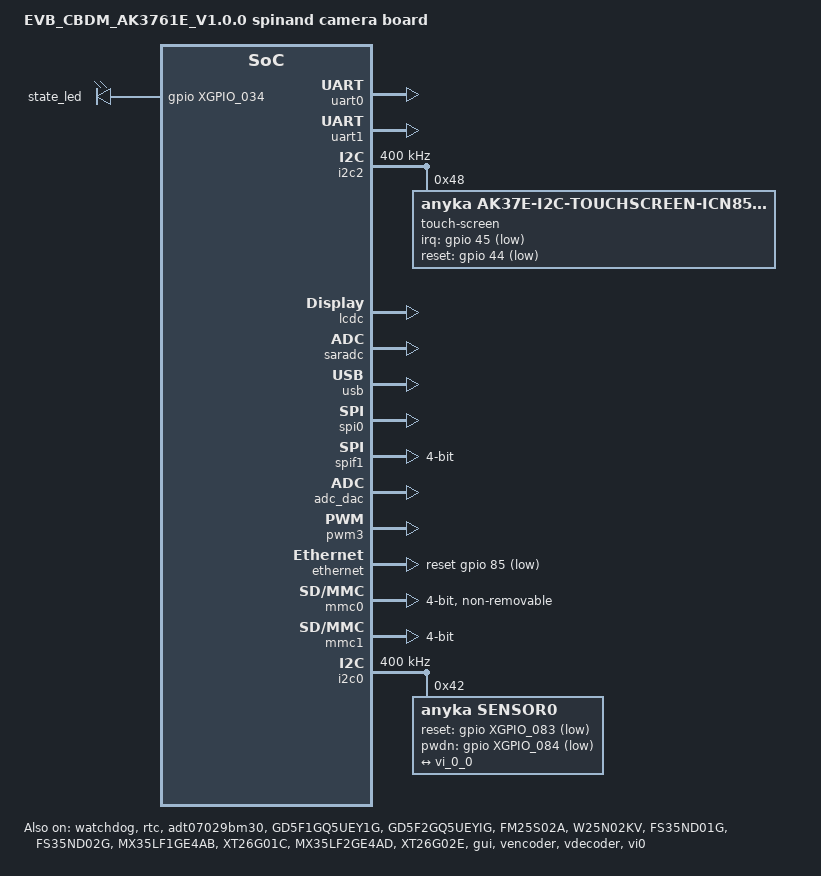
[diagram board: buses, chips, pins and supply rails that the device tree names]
/*
 * Anycloud37e dev board dts
 *
 * Copyright (C) 2020 Anyka(Guangzhou) Microelectronics Technology Co., Ltd.
 *
 * This program is free software; you can redistribute it and/or modify
 * it under the terms of the GNU General Public License as published by
 * the Free Software Foundation; either version 2 of the License, or
 * (at your option) any later version.
 *
 * This program is distributed in the hope that it will be useful,
 * but WITHOUT ANY WARRANTY; without even the implied warranty of
 * MERCHANTABILITY or FITNESS FOR A PARTICULAR PURPOSE.  See the
 * GNU General Public License for more details.
 */

/dts-v1/;
#include "anycloud_ak37e1.dtsi"
#include "anycloud_nandflash.dtsi"
#include "anycloud_lcd.dtsi"

/ {
    compatible = "anyka,ak3761e";
    model = "EVB_CBDM_AK3761E_V1.0.0 spinand camera board";
    version = "V1.0.00";
};

&gpio {
    /*
    * "anyka,function": func index, please refer to dt-bindings/pinctrl/ak_37e_pinctrl.h
    * "anyka,pull": configuration of the pins
    * bit[7:0]: pull up/down configuration
    *     bit[0]: pull up or pull down selection, 1 means select pull down, 0 means select pull up
    *     bit[4]: pull up or pull down enable, 1 means enable pull up&down function, 0 means disable fuction
    * !!! Notice that not all pin support pull up and pull down. Please refer to the programer's guide.
    * bit[15:8]: driver strength configuration.
    *     bit[9:8] drive strength.
    * bit[23:16]: input enable configuration
    *     bit[16]: 1 means enable input, 0 means disable input.
    * bit[31:24]: pin slew rate configuration
    *     bit[24]: 1 means enable slew rate, 0 means disable slew rate.
    * !!! Notice OTHER bits which not mentioned please set to 0.
    */

    /* LCD Panel backlight pin. */
    pwm3_pins: pwm3_pins {
        anyka,pins = <XGPIO_029>;
        anyka,function = <XGPIO_029_FUNC_PWM3>;
        anyka,pull = <0x1000190>;
    };

    pwm3_pins_sleep: pwm3_pins_sleep {
        anyka,pins = <XGPIO_029>;
        anyka,function = <XGPIO_029_FUNC_GPIO29>;
        anyka,pull = <0x00000000>;
    };

    pwm3_pins_idle: pwm3_pins_idle {
        anyka,pins = <XGPIO_029>;
        anyka,function = <XGPIO_029_FUNC_GPIO29>;
        anyka,pull = <0x00000000>;
    };

    /*7 inch Touch Screen  */
    icn85xx_pins: icn85xx_pins {
        anyka,pins = <XGPIO_044 XGPIO_045>;
        anyka,function = <XGPIO_044_FUNC_GPIO44 XGPIO_045_FUNC_GPIO45>;
        anyka,pull = <0x00000010 0x00010010>;
    };

    /*10 inch Touch Screen  */
    gslX680_pins: gslX680_pins {
        anyka,pins = <XGPIO_044 XGPIO_045>;
        anyka,function = <XGPIO_044_FUNC_GPIO44 XGPIO_045_FUNC_GPIO45>;
        anyka,pull = <0x00000010 0x00010010>;
    };

    i2c0_pins: i2c0_pins {
        anyka,pins = <XGPIO_030 XGPIO_031>;
        anyka,function = <XGPIO_030_FUNC_TWI0_SCL XGPIO_031_FUNC_TWI0_SDA>;
        anyka,pull = <0x1010010>;
    };

    /* i2c0_sleep_pins means: pull up or pull down disable; ie disable */
    i2c0_sleep_pins: i2c0_sleep_pins {
        anyka,pins = <XGPIO_030 XGPIO_031>;
        anyka,function = <XGPIO_030_FUNC_GPIO30 XGPIO_031_FUNC_GPIO31>;
        anyka,pull = <0x0000000>;
    };

    i2c2_pins: i2c2_pins {
        anyka,pins = <XGPIO_046 XGPIO_047>;
        anyka,function = <XGPIO_046_FUNC_TWI2_SCL XGPIO_047_FUNC_TWI2_SDA>;
        anyka,pull = <0x1010010>;
    };

    /* i2c2_sleep_pins means: pull up or pull down disable; ie disable */
    i2c2_sleep_pins: i2c2_sleep_pins {
        anyka,pins = <XGPIO_046 XGPIO_047>;
        anyka,function = <XGPIO_046_FUNC_GPIO46 XGPIO_047_FUNC_GPIO47>;
        anyka,pull = <0x00000000>;
    };

    lcd_reset_pins: lcd_reset_pins {
        anyka,pins = <XGPIO_028>;
        anyka,function = <XGPIO_028_FUNC_GPIO28>;
        anyka,pull = <0x01000310>;
    };

    lcd_power_pins: lcd_power_pins {
        anyka,pins = <XGPIO_043>;
        anyka,function = <XGPIO_043_FUNC_GPIO43>;
        anyka,pull = <0x00000010>;
    };

    mci0_pins: mci0_pins {
        anyka,pins = <XGPIO_068 XGPIO_069 XGPIO_071 XGPIO_073 XGPIO_076 XGPIO_077>;
        anyka,function = <  XGPIO_068_FUNC_SD0_D2
                            XGPIO_069_FUNC_SD0_D3
                            XGPIO_071_FUNC_SD0_CMD
                            XGPIO_073_FUNC_SD0_CLK
                            XGPIO_076_FUNC_SD0_D1
                            XGPIO_077_FUNC_SD0_D0>;
        anyka,pull = <0x1010310>;
    };

    /* mci0_idle_pins  means: pull up or pull down disable; ie disable */
    mci0_idle_pins: mci0_idle_pins {
        anyka,pins = <XGPIO_068 XGPIO_069 XGPIO_071 XGPIO_073 XGPIO_076 XGPIO_077>;
        anyka,function = <  XGPIO_068_FUNC_GPIO68
                            XGPIO_069_FUNC_GPIO69
                            XGPIO_071_FUNC_GPIO71
                            XGPIO_073_FUNC_GPIO73
                            XGPIO_076_FUNC_GPIO76
                            XGPIO_077_FUNC_GPIO77>;
        anyka,pull = <0x00000000>;
    };

    wifi_en_pins: wifi_en_pins {
        anyka,pins = <XGPIO_041>;
        anyka,function = <XGPIO_041_FUNC_GPIO41>;
        anyka,pull = <0x1010310>;
    };

    wifi_rst_pins: wifi_rst_pins {
        anyka,pins = <XGPIO_042>;
        anyka,function = <XGPIO_042_FUNC_GPIO42>;
        anyka,pull = <0x00000010>;
    };

    mci1_pins: mci1_pins {
        anyka,pins = <XGPIO_016 XGPIO_017 XGPIO_018 XGPIO_019 XGPIO_020 XGPIO_021>;
        anyka,function = <XGPIO_016_FUNC_SD1_D1
                            XGPIO_017_FUNC_SD1_D0
                            XGPIO_018_FUNC_SD1_MCLK
                            XGPIO_019_FUNC_SD1_CMD
                            XGPIO_020_FUNC_SD1_D3
                            XGPIO_021_FUNC_SD1_D2>;
        anyka,pull = <0x00010010 0x00010010 0x00010001 0x00010010 0x00010010 0x00010010>;
    };

    /* mci1_idle_pins  means: pull up or pull down disable; ie disable */
    mci1_idle_pins: mci1_idle_pins {
        anyka,pins = <XGPIO_016 XGPIO_017 XGPIO_018 XGPIO_019 XGPIO_020 XGPIO_021>;
        anyka,function = <XGPIO_016_FUNC_GPIO16
                            XGPIO_017_FUNC_GPIO17
                            XGPIO_018_FUNC_GPIO18
                            XGPIO_019_FUNC_GPIO19
                            XGPIO_020_FUNC_GPIO20
                            XGPIO_021_FUNC_GPIO21>;
        anyka,pull = <0x00000000>;
    };

    tf_det_pins: tf_det_pins{
        anyka,pins = <XGPIO_032>;
        anyka,function = <XGPIO_032_FUNC_GPIO32>;
        anyka,pull = <0x1010310>;
    };

    tf_en_pins: tf_en_pins {
        anyka,pins = <XGPIO_036>;
        anyka,function = <XGPIO_036_FUNC_GPIO36>;
        anyka,pull = <0x1010310>;
    };

    led_pins:led_pins {
        anyka,pins = <XGPIO_034>;
        anyka,function = <XGPIO_034_FUNC_GPIO34>;
        anyka,pull = <0x00000010>;
    };

    led_pins_sleep:led_pins_sleep {
        anyka,pins = <XGPIO_034>;
        anyka,function = <XGPIO_034_FUNC_GPIO34>;
        anyka,pull = <0x00000000>;
    };

    speak_pins: speak_pins {
        anyka,pins = <XGPIO_037>;
        anyka,function = <XGPIO_037_FUNC_GPIO37>;
        anyka,pull = <0x00000010>;
    };

    speak_pins_sleep: speak_pins_sleep {
        anyka,pins = <XGPIO_037>;
        anyka,function = <XGPIO_037_FUNC_GPIO37>;
        anyka,pull = <0x00000000>;
    };

    dvp0_8bits_pins: dvp0_8bits_pins {
        anyka,pins = <XGPIO_060
                        XGPIO_061
                        XGPIO_062
                        XGPIO_063
                        XGPIO_064
                        XGPIO_065
                        XGPIO_066
                        XGPIO_067>;
        anyka,function = <XGPIO_060_FUNC_CSI0_D0
                        XGPIO_061_FUNC_CSI0_D1
                        XGPIO_062_FUNC_CSI0_D2
                        XGPIO_063_FUNC_CSI0_D3
                        XGPIO_064_FUNC_CSI0_D4
                        XGPIO_065_FUNC_CSI0_D5
                        XGPIO_066_FUNC_CSI0_D6
                        XGPIO_067_FUNC_CSI0_D7>;
        anyka,pull = <0x01010310>;
    };

    dvp0_8bits_pins_sleep: dvp0_8bits_pins_sleep {
        anyka,pins = <XGPIO_060
                        XGPIO_061
                        XGPIO_062
                        XGPIO_063
                        XGPIO_064
                        XGPIO_065
                        XGPIO_066
                        XGPIO_067>;
        anyka,function = <XGPIO_060_FUNC_GPIO60
                        XGPIO_061_FUNC_GPIO61
                        XGPIO_062_FUNC_GPIO62
                        XGPIO_063_FUNC_GPIO63
                        XGPIO_064_FUNC_GPIO64
                        XGPIO_065_FUNC_GPIO65
                        XGPIO_066_FUNC_GPIO66
                        XGPIO_067_FUNC_GPIO67>;
        anyka,pull = <0x00000000>;
    };

    csi0_sclk_pin: csi0_sclk_pin {
        anyka,pins = <XGPIO_056
                        XGPIO_057
                        XGPIO_058
                        XGPIO_059>;
        anyka,function = <XGPIO_056_FUNC_CSI0_SCLK
                        XGPIO_057_FUNC_CSI0_PCLK
                        XGPIO_058_FUNC_CSI0_HSYNC
                        XGPIO_059_FUNC_CSI0_VSYNC>;
        anyka,pull = <0x01010310>;
    };

    csi0_sclk_pin_sleep: csi0_sclk_pin_sleep {
        anyka,pins = <XGPIO_056
                        XGPIO_057
                        XGPIO_058
                        XGPIO_059>;
        anyka,function = <XGPIO_056_FUNC_GPIO56
                        XGPIO_057_FUNC_GPIO57
                        XGPIO_058_FUNC_GPIO58
                        XGPIO_059_FUNC_GPIO59>;
        anyka,pull = <0x00000000>;
    };

    sensor0_reset_pins: sensor0_reset_pins {
        anyka,pins = <XGPIO_083>;
        anyka,function = <XGPIO_083_FUNC_GPIO83>;
        anyka,pull = <0x01000110>;
    };

    sensor0_pwdn_pins: sensor0_pwdn_pins {
        anyka,pins = <XGPIO_084>;
        anyka,function = <XGPIO_084_FUNC_GPIO84>;
        anyka,pull = <0x01000110>;
    };

    uart2_pins: uart2_pins {
        anyka,pins = <XGPIO_083 XGPIO_084>;
        anyka,function = <XGPIO_083_FUNC_UART2_RXD XGPIO_084_FUNC_UART2_TXD>;
        anyka,pull = <0x00010010 0x00000010>;
    };

    uart3_pins: uart3_pins {
        anyka,pins = <XGPIO_085 XGPIO_086>;
        anyka,function = <XGPIO_085_FUNC_UART3_RXD XGPIO_086_FUNC_UART3_TXD>;
        anyka,pull = <0x00010010 0x00000010>;
    };

    pdm_pins: pdm_pins {
        anyka,pins = <XGPIO_054 XGPIO_055>;
        anyka,function = <XGPIO_054_FUNC_PDM_CLK XGPIO_055_FUNC_PDM_DATA>;
        anyka,pull = <0x01010300>;
    };

    pm_wakeup_pins: pm_wakeup_pins {
        anyka,pins = <XGPIO_031>;
        anyka,function = <XGPIO_031_FUNC_GPIO31>;
        anyka,pull = <0x01010210>;
    };
};

&pm_standby {
    pinctrl-names = "default";
    pinctrl-0 = <&pm_wakeup_pins>;
    /* linux kernel standby wakeup mode
    * wakeup mode:0x0:no_src, 0x1:GPIO, 0x2:rtc alarm, 0x3:ain0, 0x4:rtc timer
    */
    wakeup-mode = <0x1>;
    wakeup-gpio = <&gpio XGPIO_031 1>;
    /*
    * wakeup gpio trigger: 0x0:rising-edge,0x1:falling-edge, 
    */
    wakeup-gpio-edge = <0x1>;

    /*
    * wakeup ain0 trigger: 0x0:falling-edge, 0x1:rising-edge
    */
    wakeup-ain0-edge = <0x0>;

    status = "disable";
};

&uart0 {
    pinctrl-names = "default";
    pinctrl-0 = <&uart0_pins>;
    status = "okay";
};

&uart1 {
    pinctrl-names = "default";
    pinctrl-0 = <&uart1_pins>;
    status = "okay";
};

&watchdog {
    /*max feed dog time = 357s, default setting time = 10s. */
    def_heartbeat = <10>;
    status = "okay";
};

&rtc {
    /*
     * rtc osc_source_select, 1 means INTERNAL RC OSC, 0 means EXTERNAL XTAL
     * if internal RC OSC is used to generate 32KH,time adjustment should be setting.(basic unit: ms)
     */
    osc-select = <1>;
    adjust-time = <1000>;
    adjust-based-on-timer;
    status = "okay";
};

&i2c2 {
    pinctrl-names = "default","sleep";
    pinctrl-0 = <&i2c2_pins>;
    pinctrl-1 = <&i2c2_sleep_pins>;

    clock-frequency = <400000>;
    sda-delay = <100>;
    status = "okay";
    #address-cells = <1>;
    #size-cells = <0>;

    touch-screen@40 {
        compatible = "anyka,ak37e-i2c-touchscreen-gslX680";
        reg = <0x40>;

        /* 10 inch MIPI touch-pane irq and reset gpio setting */
        pinctrl-names = "default";
        pinctrl-0 = <&gslX680_pins>;
        irq-gpio = <&gpio 45 1>;
        reset-gpio = <&gpio 44 1>;
        TP_MAX_X = <1280>;
        TP_MAX_Y = <800>;
        status = "disable";
    };

    touch-screen@48 {
        compatible = "anyka,ak37e-i2c-touchscreen-icn85xx";
        reg = <0x48>;

        /* 7 inch MIPI touch-pane irq and reset gpio setting */
        pinctrl-names = "default";
        pinctrl-0 = <&icn85xx_pins>;
        irq-gpio = <&gpio 45 1>;
        reset-gpio = <&gpio 44 1>;
        TP_MAX_X = <1024>;
        TP_MAX_Y = <600>;
        status = "okay";
      };
};

/* MIPI panel*/
&lcdc {
    pinctrl-names = "default";
    pinctrl-0 = <&lcd_reset_pins &lcd_power_pins>;
    reset-pins = <&gpio 28 GPIO_ACTIVE_LOW>;
    pwr-gpio = <&gpio 43 GPIO_ACTIVE_LOW>;
    backlight-gpio = <&gpio 29 GPIO_ACTIVE_HIGH>;

    lcd-logo-width = <600>;
    lcd-logo-height = <165>;
    //[fmt1:fmt0] 00 16bits input(RGB565 or BGR565)
    //[fmt1:fmt0] 01 24bits input(RGB888 or BGR888)
    //[fmt1:fmt0] 10 or 11 32bits input(ARGB888 ABGR888 RGBA888 BGRA888)
    lcd-logo-fmt0 = <1>;
    lcd-logo-fmt1 = <0>;
    lcd-logo-rgb-seq = <1>; //0 for BGR, 1 for RGB

    lcd-fb-type = <1>; //0:single buffer; 1:double buffer
    status = "okay";
};

/* 7 inch mipi */
&adt07029bm30 {
    status = "okay";
};

/* 10 inch mipi */
&sat101md40i32br1 {
    status = "disable";
};

&saradc{
    /* SAR ADC VREF selection
    * 0:To select AVCC 3.3V as VREF for SAR ADC.
    * 1:To select 3.0V generated from BGR as VREF for SAR ADC.
    */
    vref-select = <0>;
    /*
    * 0:To disable BAT voltage divider.
    * 1:To enable BAT voltage divider divided by 2.
    */
    battery-divider = <1>;
    /*
    * Sampling number
    * Read the sampling data for N times and then calculate the average value.
    * N ranges from 1 to 7.
    */
    sampling-num = <3>;
    status = "okay";
};

&usb {
    status = "okay";
};

&spi0 {
    pinctrl-names = "default","sleep";
    pinctrl-0 = <&spiflash_pins>;
    pinctrl-1 = <&spiflash_pins_sleep>;
    spi-bus-frequency = <80000000>;
    /*
     * cap-spi-highspeed;
     * if defined, means high speed controller(Maximum 80M/s);
     * if not, means normal speed controller(below 60M/s)
     */
    cap-spi-highspeed;
    status = "okay";
};

&spif1 {
    /* spi flash data bus width:
    ** 1 means 1 wire mode.
    ** 2 means 2 wire mode
    ** 4 means 4 wire mode.
    ** default: 4 wire mode.
    **/
    bus-width = <4>;
    /*
    * Notice:
    * AK37XXE will start with CS0.
    * So when we use the single Nand, need to the NAND as the Chip select 0
    */
    reg = <0>;
    status = "okay";
};

&GD5F1GQ5UEY1G{
    status = "okay";
};

&GD5F2GQ5UEYIG{
    status = "okay";
};

&FM25S02A{
    status = "okay";
};

&W25N02KV{
    status = "okay";
};

&FS35ND01G{
    status = "okay";
};

&FS35ND02G{
    status = "okay";
};

&MX35LF1GE4AB{
    status = "okay";
};

&XT26G01C{
    status = "okay";
};

&MX35LF2GE4AD{
    status = "okay";
};

&XT26G02E{
    status = "okay";
};

&adc_dac {
    pinctrl-names = "default", "sleep", "pdm_pins";
    pinctrl-0 = <&speak_pins>;
    pinctrl-1 = <&speak_pins_sleep>;
    pinctrl-2 = <&pdm_pins>;
    speak-gpios = <&gpio XGPIO_037 1>;
    /*
    * The level of speak-gpios votage for power on audio: 0=low, 1=high
    */
    speak-gpios-en = <1>;
    status = "okay";

    dev0 {
        snd-dev = <SND_CARD_DAC_PLAYBACK>;
        snd-type = <AK_PCM_DEV_PLAYBACK>;
    };

    dev1 {
        snd-dev = <SND_CARD_ADC_CAPTURE>;
        snd-type = <AK_PCM_DEV_CAPTURE>;
    };

    dev2 {
        snd-dev = <SND_CARD_DAC_LOOPBACK>;
        snd-type = <AK_PCM_DEV_LOOPBACK>;
    };

    dev3 {
        snd-dev = <SND_CARD_PDM_RECV>;
        snd-type = <AK_PCM_DEV_CAPTURE>;
    };
};

&pwm0 {
    //pinctrl-names = "default", "idle";
    //pinctrl-0 = <&pwm0_pins>;
    //pinctrl-1 = <&pwm0_pins_idle>;
    /*
    * frequency of PWM ranges from 92/256Hz(0.36Hz) to 6MHz.
    * duty of PWM ranges from 1 to 65535.
    * Minimum duty cycle:1/65536
    * Maximum duty cyscle:65535/65536.
    * period-ns: period of the PWM signal (in nanoseconds)
    * duty-ns: duty cycle of the PWM signal (in nanoseconds)
    * pwm-enable = 0 means disable pwm function.
    * pwm-enable = 1 means enable pwm function.
    */
    period-ns = <1000000>;
    duty-ns = <500000>;
    pwm-enable = <1>;
    status = "disable";
};

&pwm1 {
    //pinctrl-names = "default", "idle";
    //pinctrl-0 = <&pwm1_pins>;
    //pinctrl-1 = <&pwm1_pins_idle>;
    /*
    * frequency of PWM ranges from 92/256Hz(0.36Hz) to 6MHz.
    * duty of PWM ranges from 1 to 65535.
    * Minimum duty cycle:1/65536
    * Maximum duty cyscle:65535/65536.
    * period-ns: period of the PWM signal (in nanoseconds)
    * duty-ns: duty cycle of the PWM signal (in nanoseconds)
    * pwm-enable = 0 means disable pwm function.
    * pwm-enable = 1 means enable pwm function.
    */
    period-ns = <1000000>;
    duty-ns = <500000>;
    pwm-enable = <1>;
    status = "disable";
};

&pwm2 {
    //pinctrl-names = "default", "idle";
    //pinctrl-0 = <&pwm2_pins>;
    //pinctrl-1 = <&pwm2_pins_idle>;
    /*
    * frequency of PWM ranges from 92/256Hz(0.36Hz) to 6MHz.
    * duty of PWM ranges from 1 to 65535.
    * Minimum duty cycle:1/65536
    * Maximum duty cyscle:65535/65536.
    * period-ns: period of the PWM signal (in nanoseconds)
    * duty-ns: duty cycle of the PWM signal (in nanoseconds)
    * pwm-enable = 0 means disable pwm function.
    * pwm-enable = 1 means enable pwm function.
    */
    period-ns = <1000000>;
    duty-ns = <500000>;
    pwm-enable = <1>;
    status = "disable";
};

&pwm3 {
    pinctrl-names = "default", "sleep", "idle";
    pinctrl-0 = <&pwm3_pins>;
    pinctrl-1 = <&pwm3_pins_sleep>;
    pinctrl-2 = <&pwm3_pins_idle>;
    /*
    * frequency of PWM ranges from 92/256Hz(0.36Hz) to 6MHz.
    * duty of PWM ranges from 1 to 65535.
    * Minimum duty cycle:1/65536
    * Maximum duty cyscle:65535/65536.
    * period-ns: period of the PWM signal (in nanoseconds)
    * duty-ns: duty cycle of the PWM signal (in nanoseconds)
    * pwm-enable = 0 means disable pwm function.
    * pwm-enable = 1 means enable pwm function.
    */
    period-ns = <1000000>;
    duty-ns = <500000>;
    pwm-enable = <1>;
    status = "okay";
};

&pwm4 {
    //pinctrl-names = "default", "idle";
    //pinctrl-0 = <&pwm4_pins>;
    //pinctrl-1 = <&pwm4_pins_idle>;
    /*
    * frequency of PWM ranges from 92/256Hz(0.36Hz) to 6MHz.
    * duty of PWM ranges from 1 to 65535.
    * Minimum duty cycle:1/65536
    * Maximum duty cyscle:65535/65536.
    * period-ns: period of the PWM signal (in nanoseconds)
    * duty-ns: duty cycle of the PWM signal (in nanoseconds)
    * pwm-enable = 0 means disable pwm function.
    * pwm-enable = 1 means enable pwm function.
    */
    period-ns = <1000000>;
    duty-ns = <500000>;
    pwm-enable = <1>;
    status = "disable";
};

&pwm5 {
    //pinctrl-names = "default", "idle";
    //pinctrl-0 = <&pwm5_pins>;
    //pinctrl-1 = <&pwm5_pins_idle>;
    /*
    * frequency of PWM ranges from 92/256Hz(0.36Hz) to 6MHz.
    * duty of PWM ranges from 1 to 65535.
    * Minimum duty cycle:1/65536
    * Maximum duty cyscle:65535/65536.
    * period-ns: period of the PWM signal (in nanoseconds)
    * duty-ns: duty cycle of the PWM signal (in nanoseconds)
    * pwm-enable = 0 means disable pwm function.
    * pwm-enable = 1 means enable pwm function.
    */
    period-ns = <1000000>;
    duty-ns = <500000>;
    pwm-enable = <1>;
    status = "disable";
};

&ethernet {
    pinctrl-names = "default", "sleep";
    pinctrl-0 = <&ethernet_rmii0_pins &ethernet_rmii0_rst_pins>;
    pinctrl-1 = <&ethernet_rmii0_pins_sleep &ethernet_rmii0_rst_pins_sleep>;
    reset-gpios = <&gpio 85 1>;
    phy-address = <1>;
    status = "okay";
};

&ethernet1 {
    pinctrl-names = "default", "sleep";
    pinctrl-0 = <&ethernet_rmii1_pins &ethernet_rmii1_rst_pins>;
    pinctrl-1 = <&ethernet_rmii1_pins_sleep &ethernet_rmii1_rst_pins_sleep>;
    reset-gpios = <&gpio 86 1>;
    phy-address = <1>;
    status = "disable";
};

&gui{
    status = "okay";
};

&mmc0 {
    bus-width = <0x4>;
    max-frequency = <50000000>;
    /*
     *  detect mode:
     *  (1) non-removable;
     *  (2) detect-gpio/detect-gpios: card detect using gpio
     *      for example:
     *      detect-gpio = <&gpio 76 1>;  or detect-gpios = <&gpio 76 1>;
     *  (3) cd_clk: card detect using MCLK
     */
    non-removable;
    /* if support highspeed, using cap-sd-highspeed */
    cap-sd-highspeed;
    /* if support sdio, using cap-sdio-irq*/
    cap-sdio-irq;
    pinctrl-names = "default","idle";

    /*
    * support sdio wifi circuit enable function
    */
    pinctrl-0 = <&mci0_pins>,<&wifi_en_pins>,<&wifi_rst_pins>;
    pinctrl-1 = <&mci0_idle_pins>;
    power-pins = <&gpio 41 1>;  //power-pins is which wifi_en_pins describes
    rst-pins =   <&gpio 42 1>;  //power-pins is which wifi_rst_pins describes
    status = "okay";
};

&mmc1 {
    bus-width = <0x4>;
    max-frequency = <50000000>;
    /*
     *  detect mode:
     *  (1) non-removable;
     *  (2) detect-gpio/detect-gpios: card detect using gpio
     *      for example:
     *      detect-gpio = <&gpio 76 1>;  or detect-gpios = <&gpio 76 1>;
     *  (3) cd_clk: card detect using MCLK
     */
    /*detect-gpio = <&gpio 35 1>;*/
    detect-gpio = <&gpio XGPIO_032 1>;
    /* if support highspeed, using cap-sd-highspeed */
    cap-sd-highspeed;
    pinctrl-names = "default","idle";
    /*pinctrl-0 = <&mci1_pins>,<&tf_en_pins>;*/
    pinctrl-0 = <&mci1_pins>,<&tf_en_pins>,<&tf_det_pins>;
    pinctrl-1 = <&mci1_idle_pins>;
    /*
    * support tf card circuit enable function
    */
    power-pins = <&gpio XGPIO_036 1>;      //power-pins is which tf_en_pins describes
    power-inverted;
    status = "okay";
};

&vencoder {
    status = "okay";
};

&vdecoder{
    status = "okay";
};

&adkeys {
    /*
    * poll interval: ms
    * debounce interval: ms
    */
    interval = <120>;
    debounce_interval = <20>;
    /*
    * if pressed-input = 0, input 0 when key is pressed, else input 1.
    */
    pressed-input = <0>;
    status = "okay";

    addet0 {
        unpress_min = <0>;
        unpress_max = <3200>;
        adc_index = <1>;
        adc_channel = <0>;

        key1 {
            linux,code = <102>; /*HOME*/
            min = <0>;
            max = <50>;
        };

        key2 {
            linux,code = <103>; /*UP*/
            min = <478>;
            max = <708>;
        };

        key3 {
            linux,code = <108>; /*DOWN*/
            min = <1020>;
            max = <1320>;
        };

        key4 {
            linux,code = <105>; /*LEFT*/
            min = <1510>;
            max = <1810>;
        };

        key5 {
            linux,code = <106>; /*RIGHT*/
            min = <1980>;
            max = <2280>;
        };

        key6 {
            linux,code = <28>; /*OK*/
            min = <2460>;
            max = <2760>;
        };

        key7 {
            linux,code = <158>; /*RETURN*/
            min = <2850>;
            max = <3100>;
        };
    };
};

&leds {
    pinctrl-names = "default", "sleep";
    pinctrl-0 = <&led_pins>;
    pinctrl-1 = <&led_pins_sleep>;
    status = "okay";

    state_led {
        label = "state_led";
        gpios = <&gpio XGPIO_034 GPIO_ACTIVE_HIGH>;
        default-state = "off";
    };
};

&i2c0 {
    pinctrl-names = "default","sleep";
    pinctrl-0 = <&i2c0_pins>;
    pinctrl-1 = <&i2c0_sleep_pins>;

    clock-frequency = <400000>;
    sda-delay = <100>;
    status = "okay";
    #address-cells = <1>;
    #size-cells = <0>;

    sensor0: camera@0x42{
        compatible = "anyka,sensor0";
        reg = <0x42>;
        pinctrl-names = "default";
        pinctrl-0 = <&sensor0_reset_pins &sensor0_pwdn_pins>;
        /*
        * 0xFFFF means the gpio is invalid
        */
        reset-gpio = <&gpio XGPIO_083 1>;
        pwdn-gpio = <&gpio XGPIO_084 1>;

        port {
            sensor0_0: endpoint@0 {
                remote-endpoint = <&vi_0_0>;
            };
        };
    };
};

&vi0 {
    pinctrl-names = "default", "sleep", "dvp0_8bits", "csi0_sclk";
    pinctrl-0 = <&dvp0_8bits_pins &csi0_sclk_pin>;
    pinctrl-1 = <&dvp0_8bits_pins_sleep &csi0_sclk_pin_sleep>;
    pinctrl-2 = <&dvp0_8bits_pins>;
    pinctrl-3 = <&csi0_sclk_pin>;
    status = "okay";

    port@0 {
        #address-cells = <1>;
        #size-cells = <0>;

        vi_0_0: endpoint@0 {
            reg = <0>;
            remote-endpoint = <&sensor0_0>;
        };
    };
};
